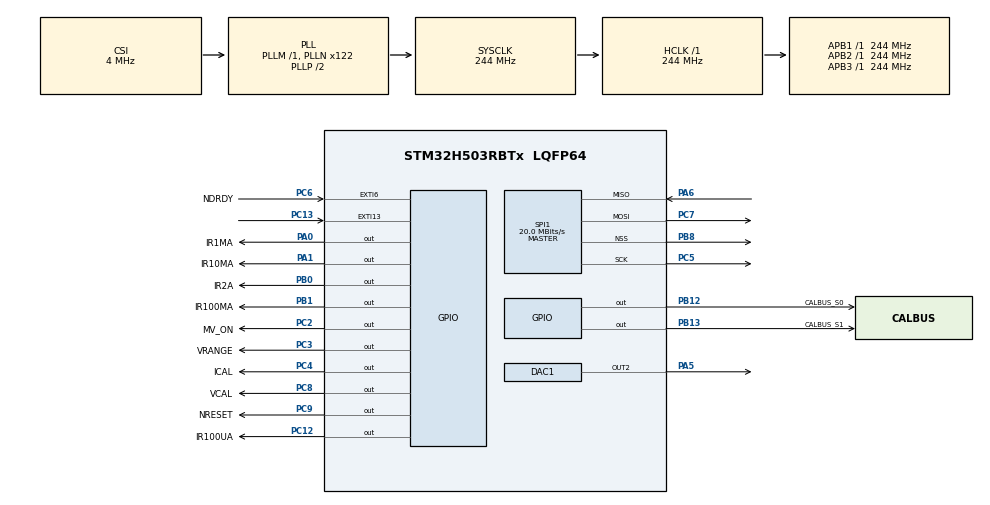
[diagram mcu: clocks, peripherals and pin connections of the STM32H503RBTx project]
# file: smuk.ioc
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BOOTPATH.BootPathName=LEGACY
BOOTPATH.UserSelectedBootPath=LEGACY
DAC1.DAC2_OutputBuffer=DAC_OUTPUTBUFFER_DISABLE
DAC1.DAC_Channel-DAC_OUT2=DAC_CHANNEL_2
GPDMA1.DESTINC_GPDMACH5=DMA_DINC_INCREMENTED
GPDMA1.DIRECTION_GPDMACH4=DMA_MEMORY_TO_PERIPH
GPDMA1.IPHANDLE_GPDMACH4-SIMPLEREQUEST_GPDMACH4=__NULL
GPDMA1.IPHANDLE_GPDMACH5-SIMPLEREQUEST_GPDMACH5=__NULL
GPDMA1.REQUEST_GPDMACH4=GPDMA1_REQUEST_SPI1_TX
GPDMA1.REQUEST_GPDMACH5=GPDMA1_REQUEST_SPI1_RX
GPDMA1.SRCINC_GPDMACH4=DMA_SINC_INCREMENTED
IWDG.Prescaler=IWDG_PRESCALER_64
IWDG.Reload=999
Mcu.Family=STM32H5
Mcu.Name=STM32H503RBTx
Mcu.Package=LQFP64
NUCLEO-H503RB.BUTTON=1
NUCLEO-H503RB.LD2=false
NUCLEO-H503RB.VCP=true
NVIC.EXTI13_IRQn=true\:0\:0\:false\:false\:true\:false\:true\:true
NVIC.EXTI6_IRQn=true\:0\:0\:false\:false\:true\:true\:true\:true
NVIC.GPDMA1_Channel4_IRQn=true\:0\:0\:false\:false\:true\:false\:true\:true
NVIC.GPDMA1_Channel5_IRQn=true\:0\:0\:false\:false\:true\:false\:true\:true
NVIC.PriorityGroup=NVIC_PRIORITYGROUP_4
NVIC.SPI1_IRQn=true\:0\:0\:false\:false\:true\:true\:true\:true
PA0.GPIO_Label=IR1MA
PA0.GPIO_Speed=GPIO_SPEED_FREQ_VERY_HIGH
PA0.PinState=GPIO_PIN_SET
PA0.Signal=GPIO_Output
PA1.GPIO_Label=IR10MA
PA1.GPIO_Speed=GPIO_SPEED_FREQ_VERY_HIGH
PA1.PinState=GPIO_PIN_SET
PA1.Signal=GPIO_Output
PA13(JTMS/SWDIO).Mode=Trace_Asynchronous_SW
PA13(JTMS/SWDIO).Signal=DEBUG_JTMS-SWDIO
PA14(JTCK/SWCLK).Mode=Trace_Asynchronous_SW
PA14(JTCK/SWCLK).Signal=DEBUG_JTCK-SWCLK
PA5.Signal=COMP_DAC12_group
PA6.Mode=Full_Duplex_Master
PA6.Signal=SPI1_MISO
PB0.GPIO_Label=IR2A
PB0.GPIO_Speed=GPIO_SPEED_FREQ_VERY_HIGH
PB0.PinState=GPIO_PIN_SET
PB0.Signal=GPIO_Output
PB1.GPIO_Label=IR100MA
PB1.GPIO_Speed=GPIO_SPEED_FREQ_VERY_HIGH
PB1.PinState=GPIO_PIN_SET
PB1.Signal=GPIO_Output
PB12.GPIO_Label=CALBUS_S0
PB12.Signal=GPIO_Output
PB13.GPIO_Label=CALBUS_S1
PB13.Signal=GPIO_Output
PB3(JTDO/TRACESWO).Mode=Trace_Asynchronous_SW
PB3(JTDO/TRACESWO).Signal=DEBUG_JTDO-SWO
PB8.Mode=NSS_Signal_Hard_Output
PB8.Signal=SPI1_NSS
PC12.GPIO_Label=IR100UA
PC12.GPIO_Speed=GPIO_SPEED_FREQ_VERY_HIGH
PC12.PinState=GPIO_PIN_SET
PC12.Signal=GPIO_Output
PC13.Signal=GPXTI13
PC2.GPIO_Label=MV_ON
PC2.Signal=GPIO_Output
PC3.GPIO_Label=VRANGE
PC3.PinState=GPIO_PIN_RESET
PC3.Signal=GPIO_Output
PC4.GPIO_Label=ICAL
PC4.PinState=GPIO_PIN_SET
PC4.Signal=GPIO_Output
PC5.Mode=Full_Duplex_Master
PC5.Signal=SPI1_SCK
PC6.GPIO_Label=NDRDY
PC6.GPIO_ModeDefaultEXTI=GPIO_MODE_IT_FALLING
PC6.GPIO_PuPd=GPIO_NOPULL
PC6.Signal=GPXTI6
PC7.Mode=Full_Duplex_Master
PC7.Signal=SPI1_MOSI
PC8.GPIO_Label=VCAL
PC8.PinState=GPIO_PIN_SET
PC8.Signal=GPIO_Output
PC9.GPIO_Label=NRESET
PC9.PinState=GPIO_PIN_SET
PC9.Signal=GPIO_Output
ProjectManager.HeapSize=0x200
ProjectManager.StackSize=0x1000
ProjectManager.TargetToolchain=STM32CubeIDE
RCC.ADCFreq_Value=244000000
RCC.AHBFreq_Value=244000000
RCC.APB1Freq_Value=244000000
RCC.APB1TimFreq_Value=244000000
RCC.APB2Freq_Value=244000000
RCC.APB2TimFreq_Value=244000000
RCC.APB3Freq_Value=244000000
RCC.CSI_VALUE=4000000
RCC.CortexFreq_Value=244000000
RCC.DACLowPowerCLockSelection=RCC_DACLPCLKSOURCE_LSI
RCC.EPOD_VALUE=4000000
RCC.HCLKFreq_Value=244000000
RCC.HSE_VALUE=24000000
RCC.HSI48_VALUE=48000000
RCC.HSIDiv=RCC_HSI_DIV1
RCC.HSI_VALUE=64000000
RCC.LSE_VALUE=32768
RCC.LSIRC_VALUE=32000
RCC.PLL1Q=10
RCC.PLL2N=40
RCC.PLLN=122
RCC.RCC_MCO1Source=RCC_MCO1SOURCE_PLL1Q
RCC.RCC_MCODiv=RCC_MCODIV_6
RCC.SPI1CLockSelection=RCC_SPI1CLKSOURCE_PLL2P
RCC.SYSCLKFreq_VALUE=244000000
RCC.SYSCLKSource=RCC_SYSCLKSOURCE_PLLCLK
RCC.USBFreq_Value=48000000
RCC.VCOOutputFreq_Value=488000000
SH.COMP_DAC12_group.0=DAC1_OUT2,DAC_OUT2
SPI1.BaudRatePrescaler=SPI_BAUDRATEPRESCALER_4
SPI1.CLKPhase=SPI_PHASE_2EDGE
SPI1.CalculateBaudRate=20.0 MBits/s
SPI1.DataSize=SPI_DATASIZE_8BIT
SPI1.Direction=SPI_DIRECTION_2LINES
SPI1.FirstBit=SPI_FIRSTBIT_MSB
SPI1.Mode=SPI_MODE_MASTER
SPI1.TIMode=SPI_TIMODE_DISABLE
SPI1.VirtualNSS=VM_NSSHARD
SPI1.VirtualType=VM_MASTER
VP_BOOTPATH_VS_BOOTPATH.Mode=BP_Activate
VP_CORTEX_M33_NS_VS_Hclk.Mode=Hclk_Mode
VP_GPDMA1_VS_GPDMACH4.Mode=SIMPLEREQUEST_GPDMACH4
VP_GPDMA1_VS_GPDMACH5.Mode=SIMPLEREQUEST_GPDMACH5
VP_ICACHE_VS_ICACHE.Mode=DirectMappedCache
VP_IWDG_VS_IWDG.Mode=IWDG_Activate
VP_MEMORYMAP_VS_MEMORYMAP.Mode=CurAppReg
VP_NUCLEO-H503RB_VS_BSP_COMMON.Mode=COMMON
VP_PWR_VS_DBSignals.Mode=DisableDeadBatterySignals
VP_PWR_VS_LPOM.Mode=PowerOptimisation
VP_PWR_VS_SECSignals.Mode=Security/Privilege
board=NUCLEO-H503RB

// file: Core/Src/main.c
/* USER CODE BEGIN Header */
/**
 ******************************************************************************
 * @file           : main.c
 * @brief          : Main program body
 ******************************************************************************
 * @attention
 *
 * Copyright (c) 2026 STMicroelectronics.
 * All rights reserved.
 *
 * This software is licensed under terms that can be found in the LICENSE file
 * in the root directory of this software component.
 * If no LICENSE file comes with this software, it is provided AS-IS.
 *
 ******************************************************************************
 */
/* USER CODE END Header */
#include "main.h"
#include "dac.h"
#include "gpdma.h"
#include "gpio.h"
#include "icache.h"
#include "spi.h"

/* USER CODE BEGIN Includes */

#include "safety_hw.h"
#include "smu.h"
#include "smu_console.h"
#include "smu_watchdog.h"

/* USER CODE END Includes */

COM_InitTypeDef BspCOMInit;

/* USER CODE BEGIN PV */

const smu_context_t* smu_ctx;
smu_measurement_outputs_t out;

/* USER CODE END PV */

void SystemClock_Config(void);

int main(void) {

    /* MCU Configuration--------------------------------------------------------*/

    /* Reset of all peripherals, Initializes the Flash interface and the Systick. */
    HAL_Init();

    /* Configure the system clock */
    SystemClock_Config();

    /* Initialize all configured peripherals */
    MX_GPIO_Init();
    MX_GPDMA1_Init();
    MX_SPI1_Init();
    MX_ICACHE_Init();
    MX_DAC1_Init();

    /* Initialize USER push-button, will be used to trigger an interrupt each time it's pressed.*/
    BSP_PB_Init(BUTTON_USER, BUTTON_MODE_EXTI);

    /* Initialize COM1 port (115200, 8 bits (7-bit data + 1 stop bit), no parity */
    BspCOMInit.BaudRate = 115200;
    BspCOMInit.WordLength = COM_WORDLENGTH_8B;
    BspCOMInit.StopBits = COM_STOPBITS_1;
    BspCOMInit.Parity = COM_PARITY_NONE;
    BspCOMInit.HwFlowCtl = COM_HWCONTROL_NONE;
    if (BSP_COM_Init(COM1, &BspCOMInit) != BSP_ERROR_NONE) {
        Error_Handler();
    }

    /* Infinite loop */
    /* USER CODE BEGIN WHILE */

    /* UART is initialized above; expose logs before instrument bring-up. */
    if (!smu_console_transport_init()) {
        Error_Handler();
    }

    if (!smu_watchdog_start()) {
        Error_Handler();
    }

    /* Calibration load, ADS131M03 bring-up, boot ranges and acquisition. */
    if (!smu_init()) {
        Error_Handler();
    }

    smu_ctx = smu_get_context();

    if (!smu_console_init()) {
        Error_Handler();
    }

    while (1) {
        smu_process();
        smu_console_process();
        smu_get_measurement(&out);
        if (!smu_watchdog_service(smu_ctx->state, safety_hw_pa_requested(), smu_ctx->input_10m_active)) {
            Error_Handler();
        }

        /* USER CODE END WHILE */

    }
}

void SystemClock_Config(void) {
    RCC_OscInitTypeDef RCC_OscInitStruct = {0};
    RCC_ClkInitTypeDef RCC_ClkInitStruct = {0};

    /** Configure the main internal regulator output voltage
     */
    __HAL_PWR_VOLTAGESCALING_CONFIG(PWR_REGULATOR_VOLTAGE_SCALE0);

    while (!__HAL_PWR_GET_FLAG(PWR_FLAG_VOSRDY)) {
    }

    /** Initializes the RCC Oscillators according to the specified parameters
     * in the RCC_OscInitTypeDef structure.
     */
    RCC_OscInitStruct.OscillatorType = RCC_OSCILLATORTYPE_LSI | RCC_OSCILLATORTYPE_CSI;
    RCC_OscInitStruct.LSIState = RCC_LSI_ON;
    RCC_OscInitStruct.CSIState = RCC_CSI_ON;
    RCC_OscInitStruct.CSICalibrationValue = RCC_CSICALIBRATION_DEFAULT;
    RCC_OscInitStruct.PLL.PLLState = RCC_PLL_ON;
    RCC_OscInitStruct.PLL.PLLSource = RCC_PLL1_SOURCE_CSI;
    RCC_OscInitStruct.PLL.PLLM = 1;
    RCC_OscInitStruct.PLL.PLLN = 122;
    RCC_OscInitStruct.PLL.PLLP = 2;
    RCC_OscInitStruct.PLL.PLLQ = 10;
    RCC_OscInitStruct.PLL.PLLR = 2;
    RCC_OscInitStruct.PLL.PLLRGE = RCC_PLL1_VCIRANGE_2;
    RCC_OscInitStruct.PLL.PLLVCOSEL = RCC_PLL1_VCORANGE_WIDE;
    RCC_OscInitStruct.PLL.PLLFRACN = 0;
    if (HAL_RCC_OscConfig(&RCC_OscInitStruct) != HAL_OK) {
        Error_Handler();
    }

    /** Initializes the CPU, AHB and APB buses clocks
     */
    RCC_ClkInitStruct.ClockType = RCC_CLOCKTYPE_HCLK | RCC_CLOCKTYPE_SYSCLK | RCC_CLOCKTYPE_PCLK1 | RCC_CLOCKTYPE_PCLK2 | RCC_CLOCKTYPE_PCLK3;
    RCC_ClkInitStruct.SYSCLKSource = RCC_SYSCLKSOURCE_PLLCLK;
    RCC_ClkInitStruct.AHBCLKDivider = RCC_SYSCLK_DIV1;
    RCC_ClkInitStruct.APB1CLKDivider = RCC_HCLK_DIV1;
    RCC_ClkInitStruct.APB2CLKDivider = RCC_HCLK_DIV1;
    RCC_ClkInitStruct.APB3CLKDivider = RCC_HCLK_DIV1;

    if (HAL_RCC_ClockConfig(&RCC_ClkInitStruct, FLASH_LATENCY_5) != HAL_OK) {
        Error_Handler();
    }

    /** Configure the programming delay
     */
    __HAL_FLASH_SET_PROGRAM_DELAY(FLASH_PROGRAMMING_DELAY_2);
}

void Error_Handler(void) {
    /* USER CODE BEGIN Error_Handler_Debug */
    /* Leave the output request off and let an already-started IWDG reset. */
    safety_hw_disable_pa();
    __disable_irq();
    while (1) {
    }
    /* USER CODE END Error_Handler_Debug */
}
